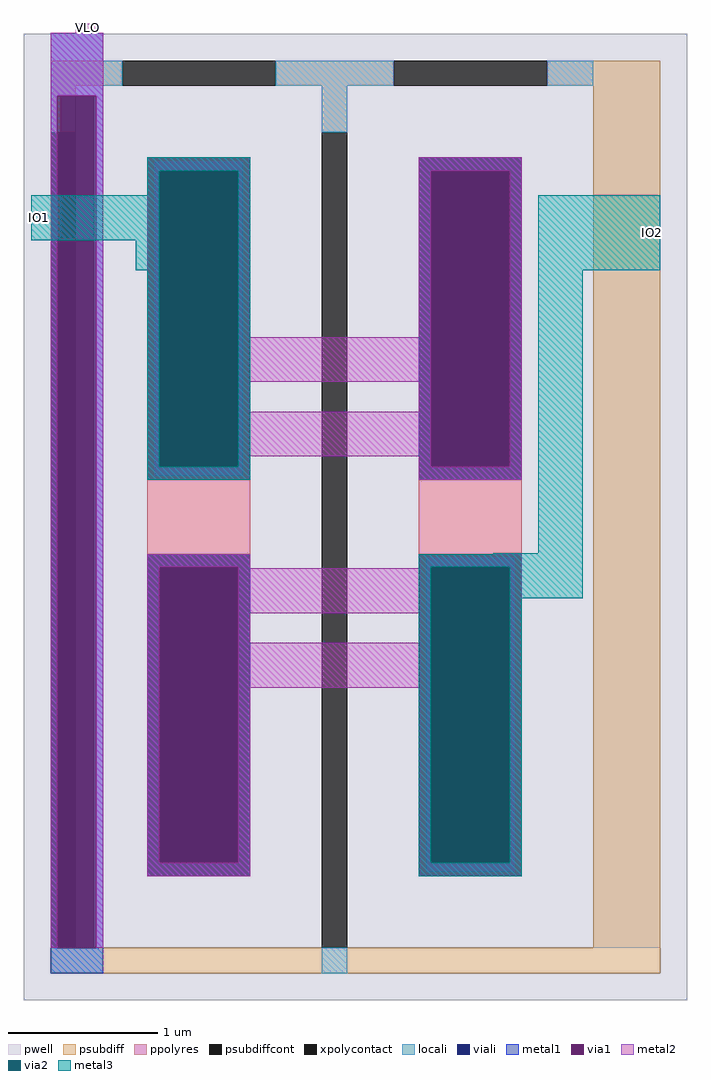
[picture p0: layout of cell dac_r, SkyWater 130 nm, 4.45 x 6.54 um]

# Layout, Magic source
magic
tech sky130A
magscale 1 2
<< pwell >>
rect 4180 1431 5070 2657
rect 4180 1397 4216 1431
rect 5034 1397 5070 1431
rect 4180 1361 5070 1397
<< psubdiff >>
rect 4216 2587 4312 2621
rect 4518 2587 4676 2621
rect 4882 2587 5034 2621
rect 4216 2525 4250 2587
rect 4580 2525 4614 2587
rect 4944 1431 5034 2587
rect 4216 1397 5034 1431
<< psubdiffcont >>
rect 4312 2587 4518 2621
rect 4676 2587 4882 2621
rect 4216 1431 4250 2525
rect 4580 1431 4614 2525
<< xpolycontact >>
rect 4346 2059 4484 2491
rect 4346 1527 4484 1959
rect 4710 2059 4848 2491
rect 4710 1527 4848 1959
<< ppolyres >>
rect 4346 1959 4484 2059
rect 4710 1959 4848 2059
<< locali >>
rect 4216 2621 4287 2658
rect 4216 2587 4312 2621
rect 4518 2587 4676 2621
rect 4882 2587 4944 2621
rect 4216 2574 4287 2587
rect 4216 2525 4229 2574
rect 4274 1431 4287 2574
rect 4580 2525 4614 2587
rect 4216 1397 4287 1431
rect 4580 1397 4614 1431
<< viali >>
rect 4229 2525 4274 2574
rect 4229 1431 4250 2525
rect 4250 1431 4274 2525
rect 4362 2076 4468 2473
rect 4362 1545 4468 1942
rect 4726 2076 4832 2473
rect 4726 1545 4832 1942
<< metal1 >>
rect 4216 2574 4287 2658
rect 4216 1431 4225 2574
rect 4277 1431 4287 2574
rect 4356 2473 4474 2485
rect 4356 2076 4362 2473
rect 4468 2076 4474 2473
rect 4356 2064 4474 2076
rect 4710 2473 4848 2491
rect 4710 2076 4726 2473
rect 4832 2076 4848 2473
rect 4710 2059 4848 2076
rect 4346 1942 4484 1959
rect 4346 1545 4362 1942
rect 4468 1545 4484 1942
rect 4346 1527 4484 1545
rect 4720 1942 4838 1954
rect 4720 1545 4726 1942
rect 4832 1545 4838 1942
rect 4720 1533 4838 1545
rect 4216 1397 4287 1431
<< via1 >>
rect 4225 1431 4229 2574
rect 4229 1431 4274 2574
rect 4274 1431 4277 2574
rect 4362 2076 4468 2473
rect 4726 2076 4832 2473
rect 4362 1545 4468 1942
rect 4726 1545 4832 1942
<< metal2 >>
rect 4250 2658 4280 2670
rect 4216 2574 4287 2658
rect 4216 1431 4225 2574
rect 4277 1431 4287 2574
rect 4346 2473 4484 2491
rect 4346 2076 4362 2473
rect 4468 2250 4484 2473
rect 4710 2473 4848 2491
rect 4710 2250 4726 2473
rect 4468 2190 4726 2250
rect 4468 2150 4484 2190
rect 4710 2150 4726 2190
rect 4468 2090 4726 2150
rect 4468 2076 4484 2090
rect 4346 2059 4484 2076
rect 4710 2076 4726 2090
rect 4832 2076 4848 2473
rect 4710 2059 4848 2076
rect 4346 1942 4484 1959
rect 4346 1545 4362 1942
rect 4468 1940 4484 1942
rect 4710 1942 4848 1959
rect 4710 1940 4726 1942
rect 4468 1880 4726 1940
rect 4468 1840 4484 1880
rect 4710 1840 4726 1880
rect 4468 1780 4726 1840
rect 4468 1545 4484 1780
rect 4346 1527 4484 1545
rect 4710 1545 4726 1780
rect 4832 1545 4848 1942
rect 4710 1527 4848 1545
<< via2 >>
rect 4362 2076 4468 2473
rect 4726 1545 4832 1942
<< metal3 >>
rect 4346 2473 4484 2491
rect 4346 2440 4362 2473
rect 4190 2380 4362 2440
rect 4330 2340 4362 2380
rect 4346 2076 4362 2340
rect 4468 2076 4484 2473
rect 4346 2059 4484 2076
rect 4870 2340 5034 2440
rect 4870 1960 4930 2340
rect 4810 1959 4930 1960
rect 4710 1942 4930 1959
rect 4710 1545 4726 1942
rect 4832 1900 4930 1942
rect 4832 1545 4848 1900
rect 4710 1527 4848 1545
<< labels >>
rlabel metal2 4250 2660 4280 2670 5 VLO
port 2 s
rlabel metal3 5014 2340 5034 2440 1 IO2
port 1 n
rlabel metal3 4190 2380 4212 2440 1 IO1
port 4 n
<< end >>
